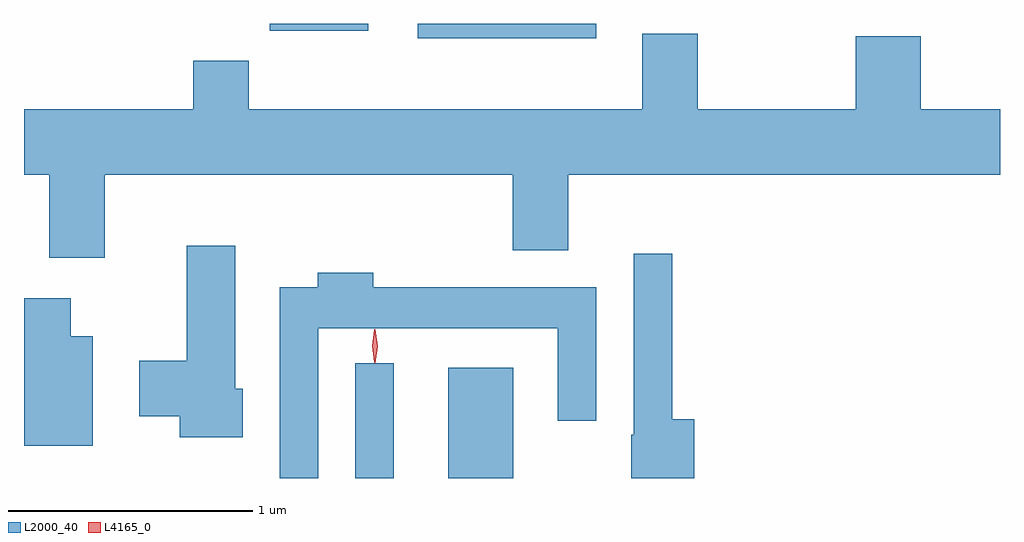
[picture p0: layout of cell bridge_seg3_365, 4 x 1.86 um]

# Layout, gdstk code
import gdstk
lib = gdstk.Library(unit=1e-6, precision=1e-09)
def R(c, l, rs):  # rectangles x0, y0, x1, y1
    for r in rs: c.add(gdstk.rectangle(r[:2], r[2:], *l))
def P(c, l, *ps):  # polygons
    for p in ps: c.add(gdstk.Polygon(p, *l))
L2000_40 = (2000, 40)
L4165_0 = (4165, 0)

bridge_seg3_365 = lib.new_cell('bridge_seg3_365')
R(bridge_seg3_365, L2000_40, [(652.586,1115.892,652.744,1116.363), (652.966,1115.892,653.234,1116.344), (652.841,1117.696,653.574,1117.755), (652.236,1117.726,652.639,1117.755)])
P(bridge_seg3_365, L2000_40, [(651.559,1117.136),(653.231,1117.136),(653.231,1116.826),(653.459,1116.826),(653.459,1117.136),(655.228,1117.136),(655.228,1117.404),(654.904,1117.404),(654.904,1117.704),(654.636,1117.704),(654.636,1117.404),(653.989,1117.404),(653.989,1117.714),(653.761,1117.714),(653.761,1117.404),(652.149,1117.404),(652.149,1117.604),(651.921,1117.604),(651.921,1117.404),(651.228,1117.404),(651.228,1117.136),(651.331,1117.136),(651.331,1116.796),(651.559,1116.796)],
  [(652.124,1116.259),(652.094,1116.259),(652.094,1116.844),(651.896,1116.844),(651.896,1116.374),(651.701,1116.374),(651.701,1116.146),(651.866,1116.146),(651.866,1116.061),(652.124,1116.061)],
  [(653.974,1116.134),(653.884,1116.134),(653.884,1116.813),(653.726,1116.813),(653.726,1116.07),(653.716,1116.07),(653.716,1115.892),(653.974,1115.892)],
  [(652.434,1116.506),(653.416,1116.506),(653.416,1116.128),(653.574,1116.128),(653.574,1116.674),(652.659,1116.674),(652.659,1116.734),(652.431,1116.734),(652.431,1116.674),(652.276,1116.674),(652.276,1115.892),(652.434,1115.892)],
  [(651.509,1116.474),(651.419,1116.474),(651.419,1116.629),(651.228,1116.629),(651.228,1116.026),(651.509,1116.026)])
P(bridge_seg3_365, L4165_0, [(652.665,1116.367),(652.664,1116.368),(652.655,1116.434),(652.664,1116.5),(652.665,1116.501),(652.665,1116.5),(652.675,1116.434),(652.665,1116.368)],
  [(652.667,1116.363),(652.666,1116.364),(652.657,1116.433),(652.666,1116.502),(652.667,1116.503),(652.668,1116.502),(652.677,1116.433),(652.668,1116.364)])

lib.write_gds('bridge_seg3_365.gds')
